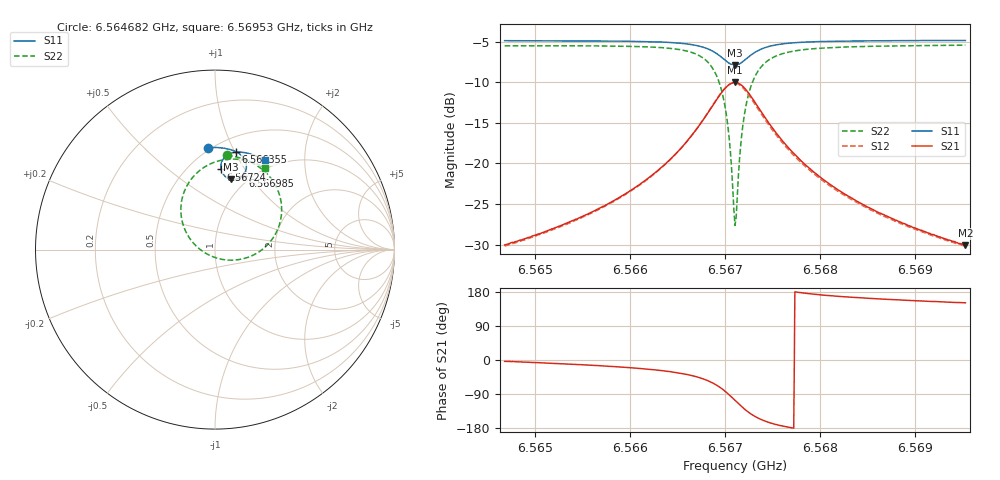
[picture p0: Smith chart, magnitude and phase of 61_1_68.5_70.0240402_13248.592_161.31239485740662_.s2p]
#  HZ  S  RI  R  50.00
! Rohde & Schwarz Vector Network Analyzer
! Rohde-Schwarz,ZNB20-2Port,1311601062101988,3.16
! Created: UTC 3/20/2024, 4:51:14 PM
! freq[Hz]  re:S11  im:S11  re:S21  im:S21  re:S12  im:S12  re:S22  im:S22
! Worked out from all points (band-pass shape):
!   401 points, 6.564682 GHz to 6.56953 GHz, reference 50 ohm
!   highest |S21| = -10.03 dB at 6.567106 GHz (marker M1); lowest = -30.1 dB at 6.56953 GHz (marker M2)
!   |S21| within 3 dB of the highest: 6.566863 GHz to 6.567348 GHz (484.6 kHz wide, 0.00738 % of centre)
!   lowest |S11| = -7.9 dB at 6.567106 GHz (marker M3), VSWR 2.34, Z = 42.5 + j39.7 ohm
!   |S11| at or under -10 dB: nowhere
!   |S22| runs from -27.6 to -5.4 dB; largest |S21 - S12| = 0.016
!   S11 on the Smith chart (normalised r, x): 6.564682 GHz: 0.48, +0.81; 6.566355 GHz: 0.64, +1.01; 6.566985 GHz: 0.91, +0.93; 6.56724 GHz: 0.71, +0.79; 6.56953 GHz: 0.87, +1.29
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6.5646825e9  -0.0364 0.5683  0.0315 -0.00193  0.0309 -0.00237  0.067 0.5251
6.5654944e9  0.0317 0.5671  0.0459 -0.0101  0.0451 -0.0108  0.1495 0.5075
6.5659307e9  0.0723 0.5607  0.0603 -0.0208  0.0594 -0.0215  0.2058 0.4844
6.5663064e9  0.1122 0.5477  0.0817 -0.0418  0.0804 -0.0429  0.2704 0.4409
6.5663549e9  0.118 0.545  0.0853 -0.0463  0.0841 -0.0474  0.2804 0.4318
6.5666094e9  0.1504 0.5216  0.1082 -0.0866  0.1066 -0.0884  0.3398 0.3528
6.5667912e9  0.1719 0.485  0.1196 -0.151  0.1164 -0.1546  0.3713 0.228
6.5669003e9  0.1732 0.4474  0.1033 -0.2174  0.097 -0.2219  0.3441 0.1016
6.5669851e9  0.1547 0.4122  0.0536 -0.2772  0.0427 -0.2806  0.2508 -0.00877
6.5670336e9  0.1321 0.3966  0.00375 -0.302  -0.01 -0.3023  0.1574 -0.0508
6.5670942e9  0.0949 0.391  -0.0738 -0.3059  -0.0884 -0.3001  0.0169 -0.0493
6.5671063e9  0.0872 0.3923  -0.0896 -0.3021  -0.1038 -0.2948  -0.0109 -0.0401
6.5671184e9  0.0797 0.3945  -0.1048 -0.2966  -0.1185 -0.2881  -0.037 -0.0284
6.5671305e9  0.0727 0.3976  -0.1194 -0.2897  -0.1324 -0.2802  -0.0621 -0.014
6.567179e9  0.049 0.4162  -0.1673 -0.2509  -0.1763 -0.238  -0.1405 0.0619
6.5672396e9  0.0343 0.4464  -0.1992 -0.1908  -0.2026 -0.1772  -0.1857 0.1719
6.5673365e9  0.0375 0.489  -0.2008 -0.1084  -0.199 -0.098  -0.1741 0.3156
6.567482e9  0.0645 0.5242  -0.1662 -0.0403  -0.1623 -0.0345  -0.0981 0.4298
6.5676638e9  0.0982 0.5399  -0.1256 -0.00651  -0.1225 -0.00337  -0.0133 0.4832
6.5679183e9  0.1351 0.5439  -0.0897 0.00939  -0.0875 0.0108  0.0671 0.5029
6.5687302e9  0.2158 0.5268  -0.0437 0.0162  -0.0426 0.0166  0.2003 0.4887
6.5695301e9  0.2772 0.4994  -0.0274 0.0152  -0.0268 0.0155  0.2769 0.4567
